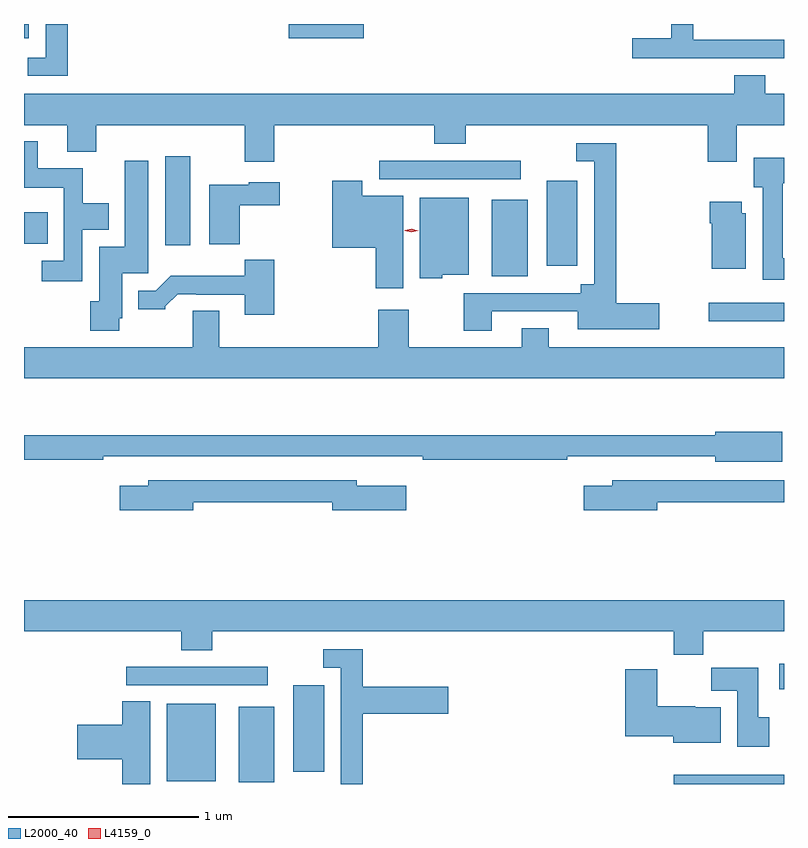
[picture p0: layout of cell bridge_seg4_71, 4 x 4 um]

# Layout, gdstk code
import gdstk
lib = gdstk.Library(unit=1e-6, precision=1e-09)
def R(c, l, rs):  # rectangles x0, y0, x1, y1
    for r in rs: c.add(gdstk.rectangle(r[:2], r[2:], *l))
def P(c, l, *ps):  # polygons
    for p in ps: c.add(gdstk.Polygon(p, *l))
L2000_40 = (2000, 40)
L4159_0 = (4159, 0)

bridge_seg4_71 = lib.new_cell('bridge_seg4_71')
R(bridge_seg4_71, L2000_40, [(761.879,778.7,762.46,778.75), (759.59,778.709,759.778,779.107), (759.212,778.715,759.469,779.122), (759.878,778.764,760.039,779.221), (762.435,779.198,762.46,779.332), (758.997,779.22,759.742,779.316), (762.063,781.136,762.46,781.233), (760.922,781.373,761.11,781.774), (761.21,781.428,761.371,781.876), (759.203,781.536,759.334,782.005), (758.46,781.544,758.585,781.708), (760.329,781.884,761.074,781.98), (758.46,782.625,758.485,782.7), (759.853,782.626,760.249,782.7)])
P(bridge_seg4_71, L2000_40, [(758.69,782.7),(758.574,782.7),(758.574,782.523),(758.481,782.523),(758.481,782.427),(758.69,782.427)],
  [(762.079,782.52),(762.445,782.52),(762.445,782.519),(762.46,782.519),(762.46,782.616),(761.982,782.616),(761.982,782.7),(761.866,782.7),(761.866,782.626),(761.661,782.626),(761.661,782.519),(762.079,782.519)],
  [(759.776,782.168),(760.619,782.168),(760.619,782.069),(760.784,782.069),(760.784,782.168),(762.059,782.168),(762.059,781.974),(762.211,781.974),(762.211,782.168),(762.46,782.168),(762.46,782.332),(762.362,782.332),(762.362,782.431),(762.197,782.431),(762.197,782.332),(758.46,782.332),(758.46,782.168),(758.687,782.168),(758.687,782.027),(758.84,782.027),(758.84,782.168),(759.623,782.168),(759.623,781.974),(759.776,781.974)],
  [(758.766,781.616),(758.905,781.616),(758.905,781.756),(758.769,781.756),(758.769,781.942),(758.533,781.942),(758.533,782.083),(758.46,782.083),(758.46,781.838),(758.67,781.838),(758.67,781.455),(758.553,781.455),(758.553,781.347),(758.766,781.347)],
  [(760.921,781.188),(761.375,781.188),(761.375,781.094),(761.803,781.094),(761.803,781.229),(761.576,781.229),(761.576,782.073),(761.367,782.073),(761.367,781.977),(761.46,781.977),(761.46,781.33),(761.39,781.33),(761.39,781.284),(760.774,781.284),(760.774,781.086),(760.921,781.086)],
  [(762.46,781.466),(762.454,781.466),(762.454,781.862),(762.46,781.862),(762.46,781.996),(762.302,781.996),(762.302,781.842),(762.347,781.842),(762.347,781.353),(762.46,781.353)],
  [(758.961,781.152),(758.977,781.152),(758.977,781.389),(759.115,781.389),(759.115,781.981),(758.99,781.981),(758.99,781.528),(758.855,781.528),(758.855,781.242),(758.809,781.242),(758.809,781.086),(758.961,781.086)],
  [(760.456,781.795),(760.24,781.795),(760.24,781.876),(760.082,781.876),(760.082,781.523),(760.31,781.523),(760.31,781.308),(760.456,781.308)],
  [(759.596,781.745),(759.805,781.745),(759.805,781.867),(759.642,781.867),(759.642,781.855),(759.434,781.855),(759.434,781.541),(759.596,781.541)],
  [(760.662,781.379),(760.801,781.379),(760.801,781.786),(760.544,781.786),(760.544,781.361),(760.662,781.361)],
  [(762.259,781.704),(762.238,781.704),(762.238,781.765),(762.068,781.765),(762.068,781.652),(762.08,781.652),(762.08,781.412),(762.259,781.412)],
  [(759.776,781.459),(759.621,781.459),(759.621,781.375),(759.232,781.375),(759.153,781.296),(759.062,781.296),(759.062,781.199),(759.204,781.199),(759.204,781.214),(759.268,781.278),(759.367,781.278),(759.367,781.275),(759.623,781.275),(759.623,781.17),(759.776,781.17)],
  [(762.46,781),(761.221,781),(761.221,781.099),(761.081,781.099),(761.081,781),(760.485,781),(760.485,781.195),(760.325,781.195),(760.325,781),(759.487,781),(759.487,781.19),(759.347,781.19),(759.347,781),(758.46,781),(758.46,780.836),(762.46,780.836)],
  [(762.451,780.553),(762.098,780.553),(762.098,780.535),(758.46,780.535),(758.46,780.406),(758.876,780.406),(758.876,780.426),(760.306,780.426),(760.306,780.425),(760.558,780.425),(760.558,780.406),(761.318,780.406),(761.318,780.426),(762.098,780.426),(762.098,780.395),(762.451,780.395)],
  [(761.794,780.184),(762.46,780.184),(762.46,780.3),(761.555,780.3),(761.555,780.271),(761.406,780.271),(761.406,780.142),(761.794,780.142)],
  [(759.352,780.184),(760.082,780.184),(760.082,780.142),(760.471,780.142),(760.471,780.271),(760.21,780.271),(760.21,780.3),(759.113,780.3),(759.113,780.271),(758.964,780.271),(758.964,780.142),(759.352,780.142)],
  [(762.035,779.504),(762.46,779.504),(762.46,779.668),(758.46,779.668),(758.46,779.504),(759.287,779.504),(759.287,779.405),(759.452,779.405),(759.452,779.504),(761.879,779.504),(761.879,779.38),(762.035,779.38)],
  [(760.244,779.069),(760.693,779.069),(760.693,779.211),(760.244,779.211),(760.244,779.409),(760.035,779.409),(760.035,779.313),(760.128,779.313),(760.128,778.7),(760.244,778.7)],
  [(762.382,779.052),(762.325,779.052),(762.325,779.311),(762.076,779.311),(762.076,779.192),(762.215,779.192),(762.215,778.896),(762.382,778.896)],
  [(762.127,779.104),(761.994,779.104),(761.994,779.11),(761.794,779.11),(761.794,779.305),(761.624,779.305),(761.624,778.952),(761.876,778.952),(761.876,778.916),(762.127,778.916)],
  [(759.124,779.135),(758.978,779.135),(758.978,779.012),(758.739,779.012),(758.739,778.829),(758.978,778.829),(758.978,778.7),(759.124,778.7)])
P(bridge_seg4_71, L4159_0, [(760.499,781.603),(760.463,781.613),(760.463,781.613),(760.463,781.614),(760.5,781.623),(760.536,781.612),(760.536,781.612),(760.536,781.612)])

lib.write_gds('bridge_seg4_71.gds')
